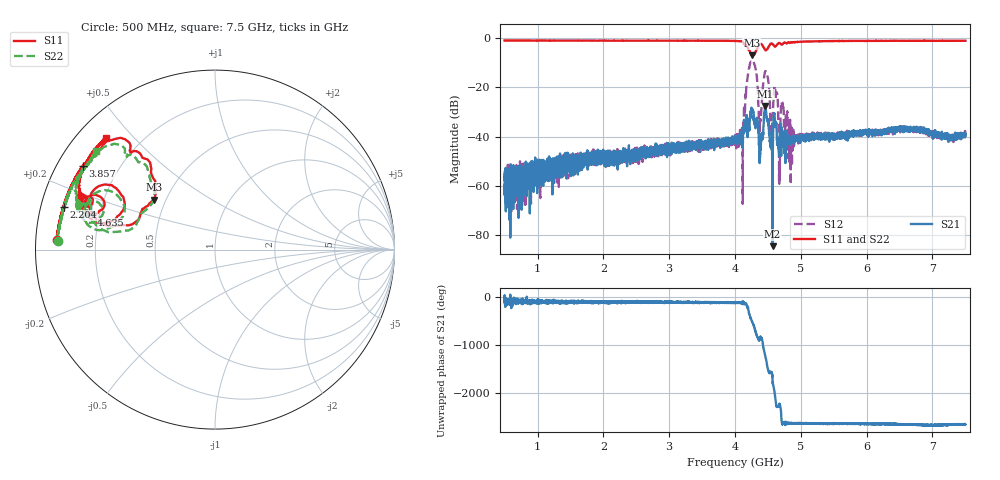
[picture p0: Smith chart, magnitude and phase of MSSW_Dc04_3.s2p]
!Keysight Technologies,M9374A,MY55442783,A.12.55.05
!Date: Wednesday, May 19, 2021 16:54:17
!Correction: S11(Full 2 Port(1,2))
!S21(Full 2 Port(1,2))
!S12(Full 2 Port(1,2))
!S22(Full 2 Port(1,2))
!S2P File: Measurements: S11, S21, S12, S22:
# Hz S  RI  R 50
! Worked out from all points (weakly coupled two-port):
!   7001 points, 500 MHz to 7.5 GHz, reference 50 ohm
!   highest |S21| = -27.62 dB at 4.458 GHz (marker M1); lowest = -84.4 dB at 4.57 GHz (marker M2)
!   lowest |S11| = -7.1 dB at 4.253 GHz (marker M3), VSWR 2.58, Z = 21.4 + j14.9 ohm
!   |S11| at or under -10 dB: nowhere
!   |S22| runs from -7.2 to -1.1 dB; largest |S21 - S12| = 0.31
!   S11 on the Smith chart (normalised r, x): 500 MHz: 0.06, +0.03; 2.204 GHz: 0.07, +0.14; 3.857 GHz: 0.07, +0.29; 4.635 GHz: 0.17, +0.14; 7.5 GHz: 0.08, +0.42
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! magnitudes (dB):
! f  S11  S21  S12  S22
! 500 MHz  -1.1  -59.5  -54.8  -1.1
! 1.667 GHz  -1.1  -53.0  -46.9  -1.2
! 2.204 GHz  -1.2  -48.3  -49.7  -1.2
! 2.834 GHz  -1.2  -44.7  -43.7  -1.2
! 3.857 GHz  -1.2  -41.6  -43.4  -1.2
! 4 GHz  -1.3  -40.2  -41.1  -1.4
! 4.098 GHz  -1.4  -40.1  -41.3  -1.4
! 4.193 GHz  -3.8  -40.2  -15.6  -3.9
! 4.253 GHz  -7.1  -30.0  -9.6  -7.1
! 4.31 GHz  -5.8  -36.1  -12.1  -5.9
! 4.38 GHz  -2.5  -46.8  -33.9  -2.5
! 4.458 GHz  -4.9  -27.6  -13.8  -5.1
! 4.542 GHz  -2.4  -44.4  -39.3  -2.5
! 4.57 GHz  -2.4  -84.4  -33.2  -2.6
! 4.612 GHz  -3.5  -35.9  -20.4  -3.5
! 4.635 GHz  -2.9  -39.0  -22.3  -3.0
! 4.669 GHz  -2.0  -46.2  -56.8  -2.1
! 4.724 GHz  -2.5  -43.1  -26.9  -2.5
! 4.879 GHz  -1.8  -40.5  -41.4  -1.8
! 5.167 GHz  -1.4  -39.5  -39.1  -1.5
! 6.334 GHz  -1.2  -37.7  -37.6  -1.3
! 7.5 GHz  -1.2  -39.0  -38.9  -1.3
